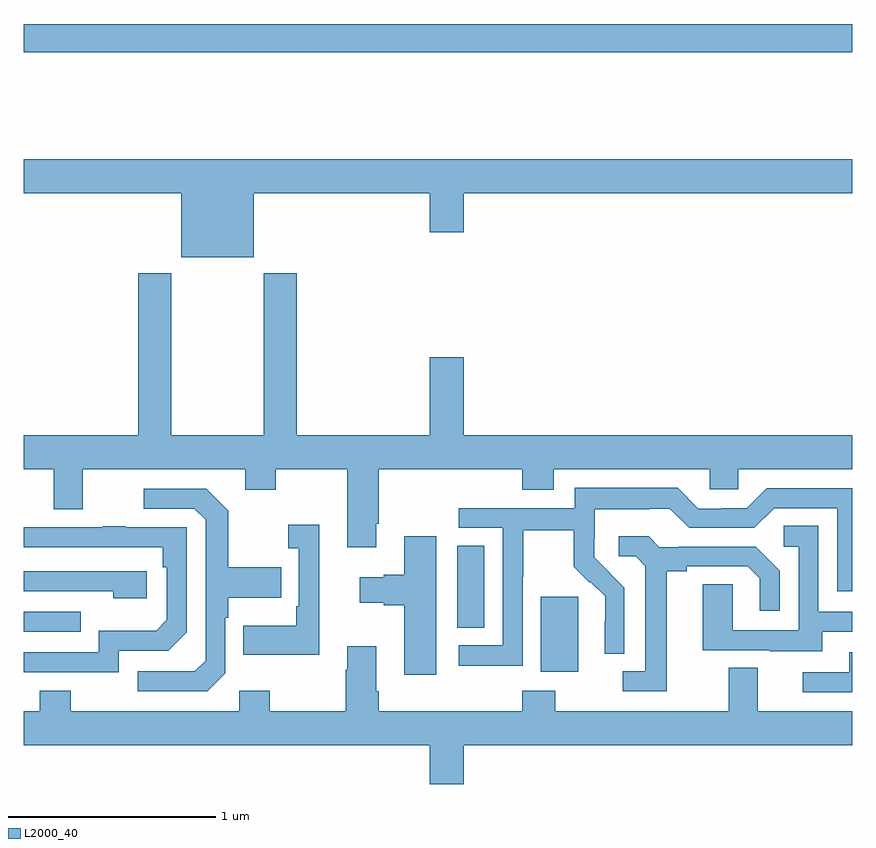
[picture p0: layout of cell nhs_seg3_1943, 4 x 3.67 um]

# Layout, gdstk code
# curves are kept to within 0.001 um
import gdstk
lib = gdstk.Library(unit=1e-6, precision=1e-09)
def R(c, l, rs):  # rectangles x0, y0, x1, y1
    for r in rs: c.add(gdstk.rectangle(r[:2], r[2:], *l))
def P(c, l, *ps):  # polygons
    for p in ps: c.add(gdstk.Polygon(p, *l))
L2000_40 = (2000, 40)

nhs_seg3_1943 = lib.new_cell('nhs_seg3_1943')
R(nhs_seg3_1943, L2000_40, [(213.497,705.266,213.676,705.627), (211,705.459,211.277,705.555), (213.092,705.478,213.223,705.875), (211,708.256,215,708.392)])
P(nhs_seg3_1943, L2000_40, [(212.11,707.576),(212.96,707.576),(212.96,707.388),(213.124,707.388),(213.124,707.576),(215,707.576),(215,707.74),(211,707.74),(211,707.576),(211.76,707.576),(211.76,707.267),(212.11,707.267)],
  [(212.701,705.979),(212.714,705.979),(212.714,706.244),(213.407,706.244),(213.407,706.145),(213.559,706.145),(213.559,706.244),(214.311,706.244),(214.311,706.146),(214.449,706.146),(214.449,706.244),(215,706.244),(215,706.408),(213.124,706.408),(213.124,706.783),(212.96,706.783),(212.96,706.408),(212.318,706.408),(212.318,707.188),(212.158,707.188),(212.158,706.408),(211.713,706.408),(211.713,707.188),(211.553,707.188),(211.553,706.408),(211,706.408),(211,706.244),(211.145,706.244),(211.145,706.05),(211.285,706.05),(211.285,706.244),(212.069,706.244),(212.069,706.145),(212.217,706.145),(212.217,706.244),(212.561,706.244),(212.561,705.867),(212.701,705.867)],
  [(213.408,705.724),(213.411,705.724),(213.411,705.948),(213.655,705.948),(213.655,705.773),(213.732,705.696),(213.735,705.699),(213.806,705.629),(213.806,705.506),(213.804,705.506),(213.804,705.352),(213.9,705.352),(213.9,705.67),(213.754,705.818),(213.754,705.915),(213.756,705.915),(213.756,706.049),(214.019,706.049),(214.019,706.053),(214.119,706.053),(214.212,705.96),(214.527,705.96),(214.623,706.056),(214.926,706.056),(214.926,705.654),(215,705.654),(215,706.152),(214.587,706.152),(214.491,706.056),(214.373,706.056),(214.373,706.053),(214.257,706.053),(214.157,706.153),(213.66,706.153),(213.66,706.056),(213.099,706.056),(213.099,705.96),(213.312,705.96),(213.312,705.393),(213.099,705.393),(213.099,705.295),(213.408,705.295)],
  [(211.974,705.258),(211.974,705.527),(211.987,705.527),(211.987,705.623),(212.243,705.623),(212.243,705.771),(211.987,705.771),(211.987,706.043),(211.881,706.149),(211.581,706.149),(211.581,706.053),(211.824,706.053),(211.878,705.999),(211.878,705.318),(211.827,705.267),(211.551,705.267),(211.551,705.171),(211.887,705.171)],
  [(212.426,705.976),(212.277,705.976),(212.277,705.863),(212.328,705.863),(212.328,705.583),(212.316,705.583),(212.316,705.487),(212.059,705.487),(212.059,705.347),(212.426,705.347)],
  [(214.855,705.459),(215,705.459),(215,705.555),(214.836,705.555),(214.836,705.971),(214.668,705.971),(214.668,705.87),(214.74,705.87),(214.74,705.465),(214.422,705.465),(214.422,705.689),(214.277,705.689),(214.277,705.369),(214.601,705.369),(214.601,705.365),(214.855,705.365)],
  [(211.458,705.366),(211.698,705.366),(211.788,705.456),(211.788,705.963),(211.493,705.963),(211.493,705.968),(211.381,705.968),(211.381,705.963),(211,705.963),(211,705.867),(211.672,705.867),(211.672,705.77),(211.692,705.77),(211.692,705.516),(211.639,705.463),(211.362,705.463),(211.362,705.36),(211,705.36),(211,705.264),(211.458,705.264)],
  [(214.105,705.752),(214.201,705.752),(214.201,705.774),(214.496,705.774),(214.553,705.717),(214.553,705.561),(214.65,705.561),(214.65,705.754),(214.534,705.87),(214.162,705.87),(214.162,705.867),(214.068,705.867),(214.016,705.919),(213.873,705.919),(213.873,705.822),(213.954,705.822),(214.001,705.775),(214.001,705.267),(213.891,705.267),(213.891,705.171),(214.105,705.171)],
  [(212.992,705.919),(212.837,705.919),(212.837,705.734),(212.738,705.734),(212.738,705.721),(212.622,705.721),(212.622,705.599),(212.738,705.599),(212.738,705.587),(212.837,705.587),(212.837,705.252),(212.992,705.252)],
  [(211.594,705.75),(211,705.75),(211,705.654),(211.433,705.654),(211.433,705.62),(211.594,705.62)],
  [(213.124,704.912),(215,704.912),(215,705.076),(214.543,705.076),(214.543,705.284),(214.403,705.284),(214.403,705.076),(213.567,705.076),(213.567,705.175),(213.407,705.175),(213.407,705.076),(212.714,705.076),(212.714,705.172),(212.701,705.172),(212.701,705.388),(212.561,705.388),(212.561,705.275),(212.554,705.275),(212.554,705.076),(212.187,705.076),(212.187,705.175),(212.04,705.175),(212.04,705.076),(211.227,705.076),(211.227,705.175),(211.079,705.175),(211.079,705.076),(211,705.076),(211,704.912),(212.96,704.912),(212.96,704.724),(213.124,704.724)],
  [(215,705.36),(214.985,705.36),(214.985,705.264),(214.761,705.264),(214.761,705.168),(215,705.168)])

lib.write_gds('nhs_seg3_1943.gds')
